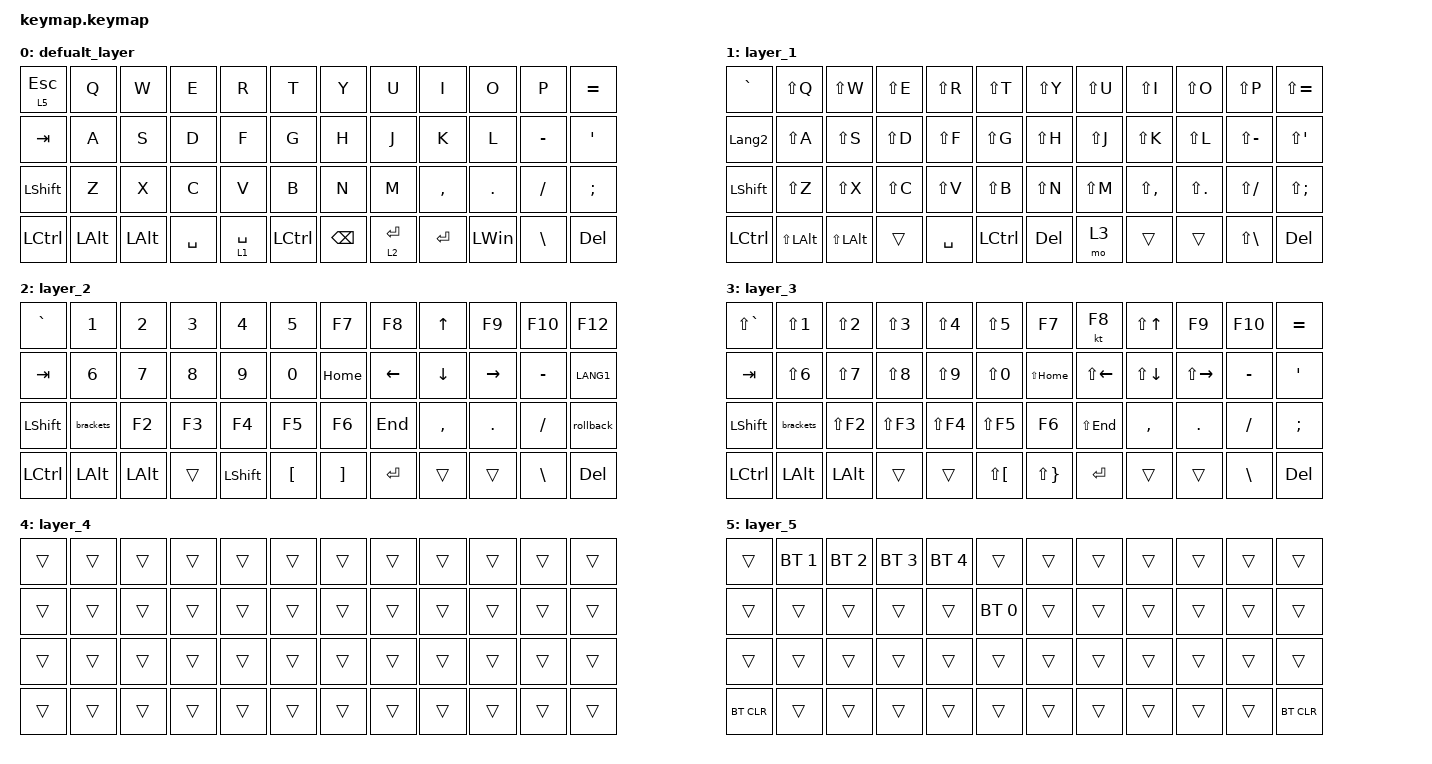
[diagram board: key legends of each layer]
#include <behaviors.dtsi>
#include <dt-bindings/zmk/bt.h>
#include <dt-bindings/zmk/keys.h>

/ {
    macros {
        rollback: rollback {
            compatible = "zmk,behavior-macro";
            #binding-cells = <0>;
            bindings = <&kp ENTER &kp ENTER &kp LANGUAGE_2 &kp R &kp O &kp L &kp L &kp B &kp A &kp C &kp K &kp ENTER &kp MINUS &kp MINUS &kp C &kp O &kp M &kp M &kp I &kp T &kp ENTER &kp ENTER>;
            label = "ROLLBACK";
        };

        brackets: brackets {
            compatible = "zmk,behavior-macro";
            #binding-cells = <0>;
            bindings = <&kp LEFT_BRACKET &kp RIGHT_BRACKET>;
            label = "BRACKETS";
        };
    };

    keymap {
        compatible = "zmk,keymap";

        defualt_layer {
            bindings = <
&lt 5 ESC   &kp Q         &kp W         &kp E      &kp R        &kp T      &kp Y          &kp U        &kp I      &kp O         &kp P          &kp EQUAL
&kp TAB     &kp A         &kp S         &kp D      &kp F        &kp G      &kp H          &kp J        &kp K      &kp L         &kp MINUS      &kp SINGLE_QUOTE
&kp LSHIFT  &kp Z         &kp X         &kp C      &kp V        &kp B      &kp N          &kp M        &kp COMMA  &kp PERIOD    &kp SLASH      &kp SEMICOLON
&kp LCTRL   &kp LEFT_ALT  &kp LEFT_ALT  &kp SPACE  &lt 1 SPACE  &kp LCTRL  &kp BACKSPACE  &lt 2 ENTER  &kp ENTER  &kp LEFT_WIN  &kp BACKSLASH  &kp DEL
            >;
        };

        layer_1 {
            bindings = <
&kp GRAVE       &kp LS(Q)         &kp LS(W)         &kp LS(E)  &kp LS(R)  &kp LS(T)  &kp LS(Y)  &kp LS(U)  &kp LS(I)      &kp LS(O)       &kp LS(P)          &kp LS(EQUAL)
&kp LANGUAGE_2  &kp LS(A)         &kp LS(S)         &kp LS(D)  &kp LS(F)  &kp LS(G)  &kp LS(H)  &kp LS(J)  &kp LS(K)      &kp LS(L)       &kp LS(MINUS)      &kp LS(SINGLE_QUOTE)
&kp LSHIFT      &kp LS(Z)         &kp LS(X)         &kp LS(C)  &kp LS(V)  &kp LS(B)  &kp LS(N)  &kp LS(M)  &kp LS(COMMA)  &kp LS(PERIOD)  &kp LS(SLASH)      &kp LS(SEMICOLON)
&kp LCTRL       &kp LS(LEFT_ALT)  &kp LS(LEFT_ALT)  &trans     &kp SPACE  &kp LCTRL  &kp DEL    &mo 3      &trans         &trans          &kp LS(BACKSLASH)  &kp DEL
            >;
        };

        layer_2 {
            bindings = <
&kp GRAVE   &kp NUMBER_1  &kp NUMBER_2  &kp NUMBER_3  &kp NUMBER_4    &kp NUMBER_5      &kp F7             &kp F8          &kp UP_ARROW    &kp F9           &kp F10        &kp F12
&kp TAB     &kp NUMBER_6  &kp NUMBER_7  &kp NUMBER_8  &kp NUMBER_9    &kp NUMBER_0      &kp HOME           &kp LEFT_ARROW  &kp DOWN_ARROW  &kp RIGHT_ARROW  &kp MINUS      &kp LANG1
&kp LSHIFT  &brackets     &kp F2        &kp F3        &kp F4          &kp F5            &kp F6             &kp END         &kp COMMA       &kp PERIOD       &kp SLASH      &rollback
&kp LCTRL   &kp LEFT_ALT  &kp LEFT_ALT  &trans        &kp LEFT_SHIFT  &kp LEFT_BRACKET  &kp RIGHT_BRACKET  &kp ENTER       &trans          &trans           &kp BACKSLASH  &kp DEL
            >;
        };

        layer_3 {
            bindings = <
&kp LS(GRAVE)  &kp LS(NUMBER_1)  &kp LS(NUMBER_2)  &kp LS(NUMBER_3)  &kp LS(NUMBER_4)  &kp LS(NUMBER_5)      &kp F7               &kt F8              &kp LS(UP_ARROW)    &kp F9               &kp F10        &kp EQUAL
&kp TAB        &kp LS(NUMBER_6)  &kp LS(NUMBER_7)  &kp LS(NUMBER_8)  &kp LS(NUMBER_9)  &kp LS(NUMBER_0)      &kp LS(HOME)         &kp LS(LEFT_ARROW)  &kp LS(DOWN_ARROW)  &kp LS(RIGHT_ARROW)  &kp MINUS      &kp SQT
&kp LSHIFT     &brackets         &kp LS(F2)        &kp LS(F3)        &kp LS(F4)        &kp LS(F5)            &kp F6               &kp LS(END)         &kp COMMA           &kp PERIOD           &kp SLASH      &kp SEMICOLON
&kp LCTRL      &kp LEFT_ALT      &kp LEFT_ALT      &trans            &trans            &kp LS(LEFT_BRACKET)  &kp LS(RIGHT_BRACE)  &kp ENTER           &trans              &trans               &kp BACKSLASH  &kp DEL
            >;
        };

        layer_4 {
            bindings = <
&trans  &trans  &trans  &trans  &trans  &trans  &trans  &trans  &trans  &trans  &trans  &trans
&trans  &trans  &trans  &trans  &trans  &trans  &trans  &trans  &trans  &trans  &trans  &trans
&trans  &trans  &trans  &trans  &trans  &trans  &trans  &trans  &trans  &trans  &trans  &trans
&trans  &trans  &trans  &trans  &trans  &trans  &trans  &trans  &trans  &trans  &trans  &trans
            >;
        };

        layer_5 {
            bindings = <
&trans      &bt BT_SEL 1  &bt BT_SEL 2  &bt BT_SEL 3  &bt BT_SEL 4  &trans        &trans  &trans  &trans  &trans  &trans  &trans
&trans      &trans        &trans        &trans        &trans        &bt BT_SEL 0  &trans  &trans  &trans  &trans  &trans  &trans
&trans      &trans        &trans        &trans        &trans        &trans        &trans  &trans  &trans  &trans  &trans  &trans
&bt BT_CLR  &trans        &trans        &trans        &trans        &trans        &trans  &trans  &trans  &trans  &trans  &bt BT_CLR
            >;
        };
    };
};
